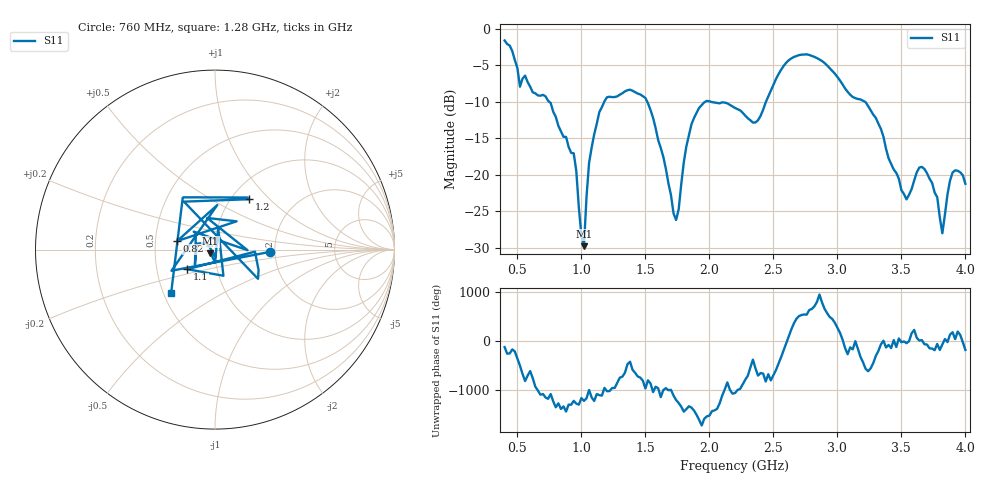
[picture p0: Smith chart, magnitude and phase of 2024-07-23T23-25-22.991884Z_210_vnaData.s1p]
!Created with skrf (http://scikit-rf.org).
# Hz S RI R 50.0
!freq ReS11 ImS11
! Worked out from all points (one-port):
!   181 points, 400 MHz to 4 GHz, reference 50 ohm
!   lowest |S11| = -29.8 dB at 1.02 GHz (marker M1), VSWR 1.07, Z = 47.5 - j1.86 ohm
!   |S11| at or under -10 dB: 1.514 GHz to 1.969 GHz (455 MHz wide, 26.1 % of centre); 2.01 GHz to 2.442 GHz (432.1 MHz wide, 19.4 % of centre); 3.214 GHz to end of sweep (the widest 3 of 4)
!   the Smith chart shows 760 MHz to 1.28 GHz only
!   S11 on the Smith chart (normalised r, x): 760 MHz: 1.89, -0.05; 820 MHz: 0.65, +0.07; 1.1 GHz: 0.72, -0.16; 1.2 GHz: 1.20, +0.76; 1.28 GHz: 0.55, -0.30
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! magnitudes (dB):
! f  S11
! 400 MHz  -1.6
! 520 MHz  -7.9
! 760 MHz  -10.2
! 820 MHz  -13.3
! 860 MHz  -14.8
! 940 MHz  -17.1
! 1.02 GHz  -29.8
! 1.06 GHz  -18.4
! 1.1 GHz  -14.5
! 1.2 GHz  -9.4
! 1.28 GHz  -9.3
! 1.3 GHz  -9.0
! 1.5 GHz  -9.5
! 1.72 GHz  -25.3
! 1.76 GHz  -24.8
! 1.82 GHz  -16.1
! 1.92 GHz  -10.8
! 2.2 GHz  -10.9
! 2.38 GHz  -12.5
! 2.66 GHz  -3.9
! 3.1 GHz  -9.0
! 3.3 GHz  -12.2
! 3.56 GHz  -22.7
! 3.68 GHz  -19.2
! 3.78 GHz  -23.1
! 3.82 GHz  -28.0
! 3.9 GHz  -19.7
! 4 GHz  -21.3
